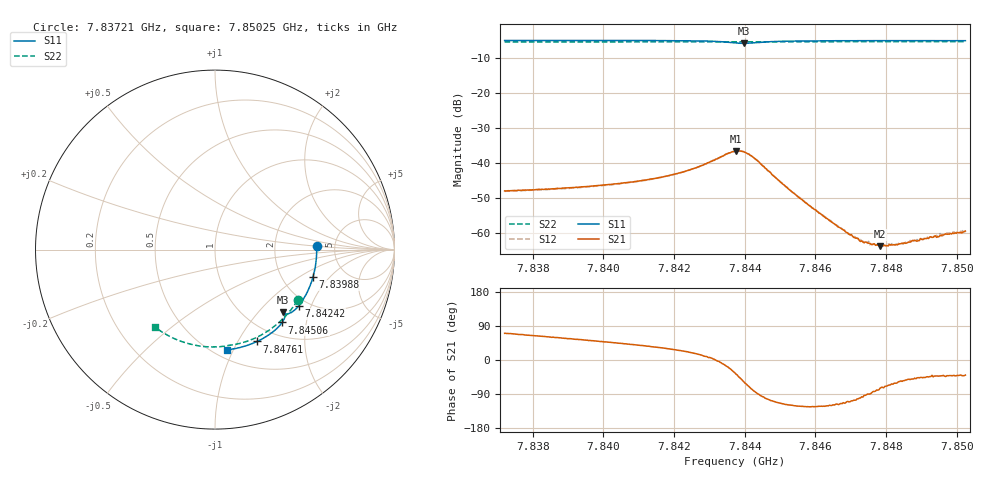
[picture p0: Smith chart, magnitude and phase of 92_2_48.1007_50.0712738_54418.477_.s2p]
#  HZ  S  RI  R  50.00
! Rohde & Schwarz Vector Network Analyzer
! Rohde-Schwarz,ZNB20-2Port,1311601062101988,3.16
! Created: UTC 12/23/2023, 3:43:51 AM
! freq[Hz]  re:S11  im:S11  re:S21  im:S21  re:S12  im:S12  re:S22  im:S22
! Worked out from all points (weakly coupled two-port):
!   401 points, 7.83721 GHz to 7.85025 GHz, reference 50 ohm
!   highest |S21| = -36.58 dB at 7.84376 GHz (marker M1); lowest = -63.8 dB at 7.84783 GHz (marker M2)
!   lowest |S11| = -5.8 dB at 7.84399 GHz (marker M3), VSWR 3.13, Z = 72.8 - j68.9 ohm
!   |S11| at or under -10 dB: nowhere
!   |S22| runs from -5.4 to -5.3 dB; largest |S21 - S12| = 0.00035
!   S11 on the Smith chart (normalised r, x): 7.83721 GHz: 3.60, +0.23; 7.83988 GHz: 2.94, -1.34; 7.84242 GHz: 1.79, -1.64; 7.84506 GHz: 1.25, -1.46; 7.84761 GHz: 0.81, -1.21; 7.85025 GHz: 0.58, -0.94
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7.837205e9  0.566 0.0218  0.00133 0.00374  0.00133 0.00368  0.4598 -0.2825
7.83939e9  0.5535 -0.123  0.0027 0.00367  0.00267 0.00359  0.3629 -0.4004
7.839879e9  0.5454 -0.1547  0.00309 0.00359  0.00306 0.00358  0.3368 -0.4229
7.841574e9  0.5011 -0.2621  0.00518 0.00337  0.00513 0.00335  0.2367 -0.4867
7.842422e9  0.4671 -0.3129  0.00738 0.00279  0.00734 0.00285  0.1817 -0.5099
7.843237e9  0.4182 -0.3537  0.0115 -0.000629  0.0117 -0.000385  0.1266 -0.5257
7.843498e9  0.3984 -0.3587  0.0129 -0.00398  0.013 -0.00387  0.1088 -0.5288
7.843726e9  0.3839 -0.355  0.012 -0.00821  0.0121 -0.00822  0.0938 -0.531
7.843759e9  0.3825 -0.3539  0.0118 -0.00904  0.0119 -0.00885  0.0915 -0.5313
7.843987e9  0.3808 -0.3477  0.00745 -0.0122  0.00761 -0.0123  0.0775 -0.5336
7.844345e9  0.3898 -0.3575  0.000482 -0.0109  0.000515 -0.011  0.0539 -0.5377
7.845063e9  0.3747 -0.4057  -0.00217 -0.00456  -0.0022 -0.00467  0.00386 -0.5427
7.845911e9  0.3326 -0.4502  -0.00123 -0.0019  -0.00122 -0.0019  -0.0559 -0.5408
7.84653e9  0.2982 -0.4761  -0.000648 -0.00118  -0.000659 -0.00119  -0.0991 -0.5349
7.847052e9  0.2675 -0.4947  -0.000275 -0.000854  -0.000264 -0.000874  -0.1351 -0.5274
7.847313e9  0.2521 -0.5032  -9.36e-05 -0.00076  -0.000126 -0.000752  -0.1527 -0.5228
7.847606e9  0.2343 -0.5118  5.22e-05 -0.000673  1.97e-05 -0.000684  -0.1725 -0.5168
7.847834e9  0.2202 -0.5182  0.000174 -0.000619  0.000162 -0.000624  -0.1877 -0.5116
7.848095e9  0.2041 -0.5247  0.000274 -0.000623  0.000285 -0.000618  -0.2048 -0.5051
7.848552e9  0.1751 -0.5351  0.000425 -0.000563  0.000438 -0.000585  -0.2343 -0.4925
7.849856e9  0.0908 -0.5553  0.000724 -0.000631  0.000746 -0.000683  -0.3136 -0.447
7.850247e9  0.065 -0.5588  0.000814 -0.000676  0.000751 -0.000701  -0.3357 -0.4309
